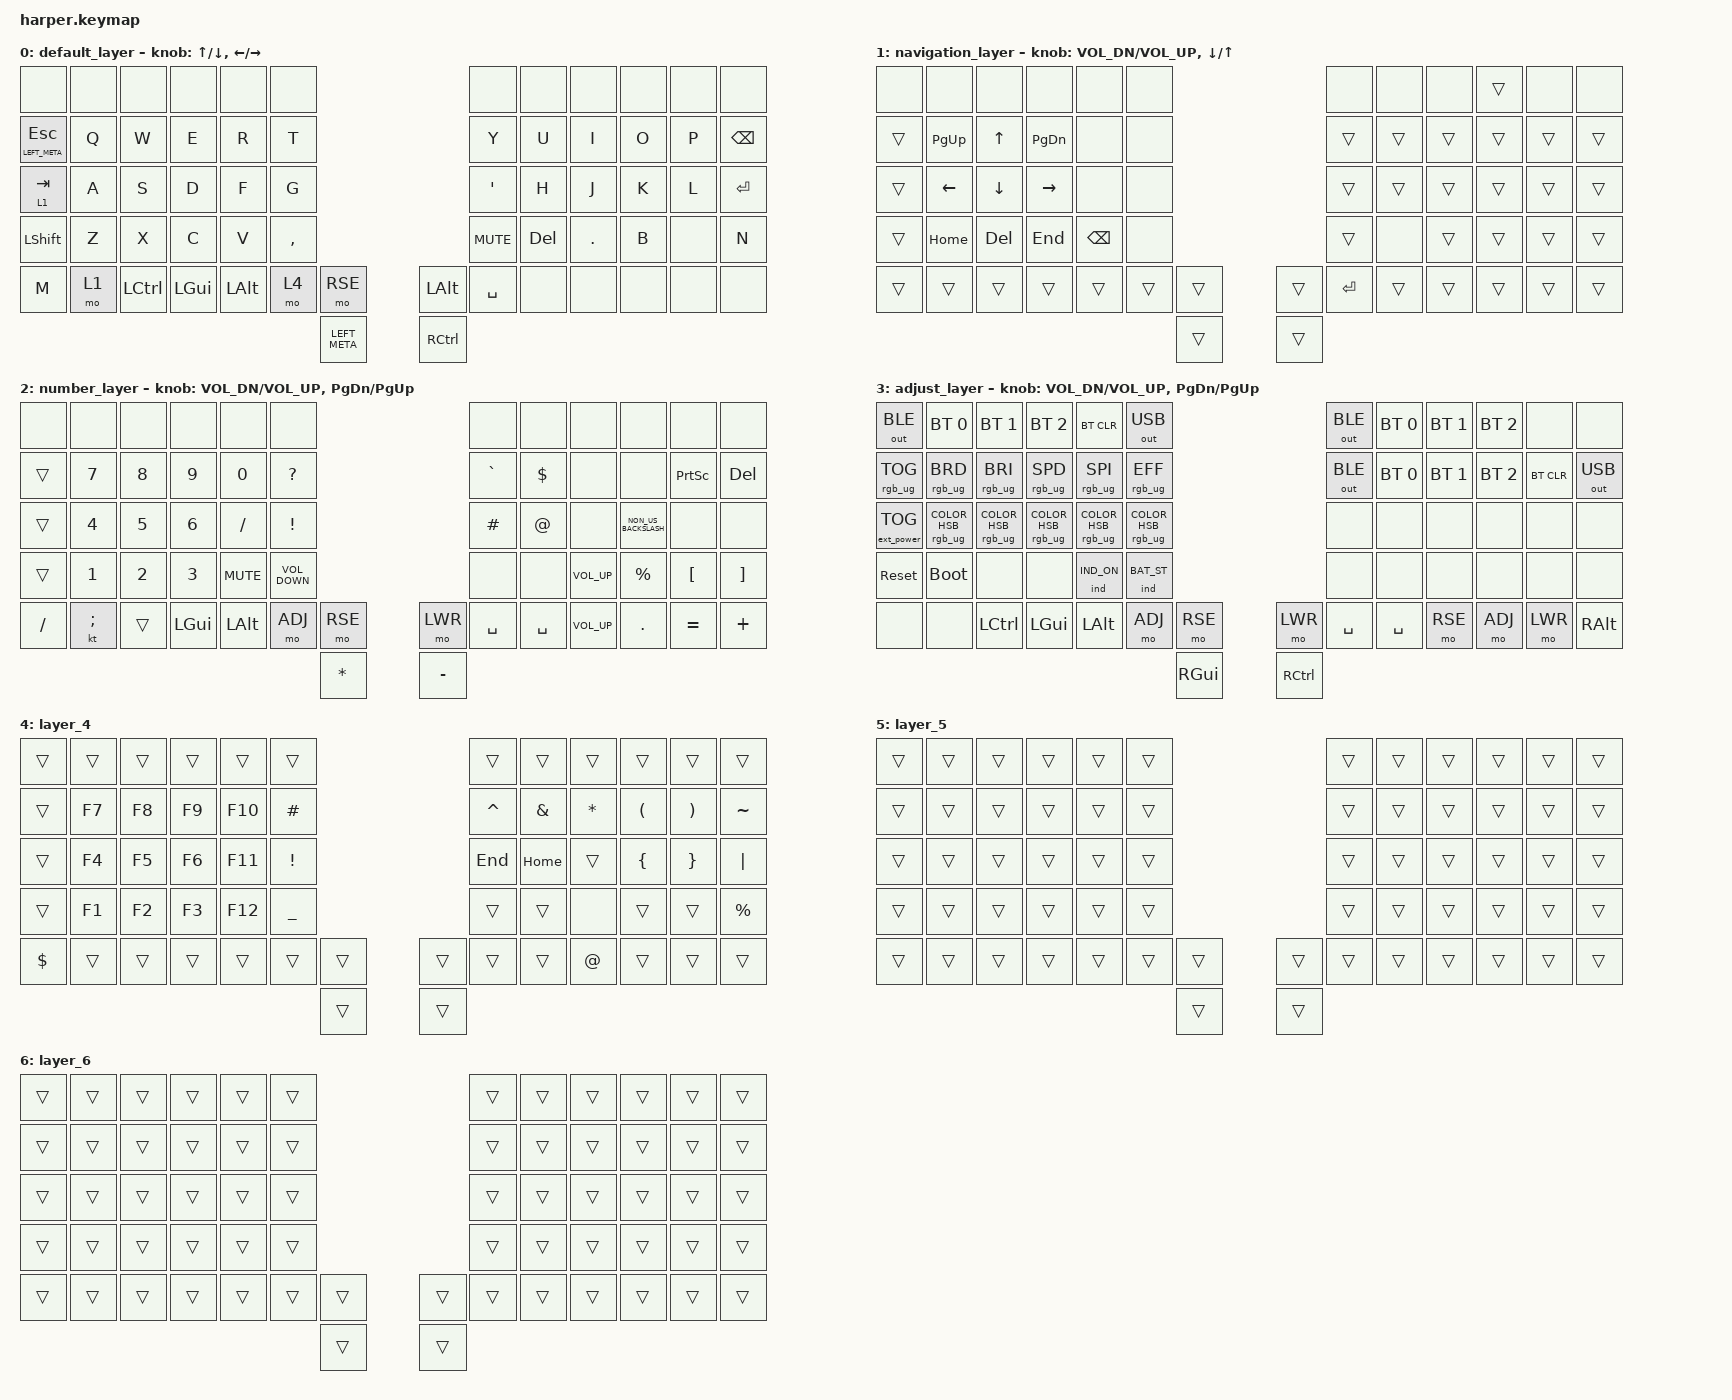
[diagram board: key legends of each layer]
#include <dt-bindings/zmk/indicators.h>
#include <behaviors.dtsi>
#include <dt-bindings/zmk/bt.h>
#include <dt-bindings/zmk/ext_power.h>
#include <dt-bindings/zmk/keys.h>
#include <dt-bindings/zmk/keys.h>
#include <dt-bindings/zmk/outputs.h>
#include <dt-bindings/zmk/rgb.h>

#define DEF 0
#define LWR 1
#define RSE 2
#define ADJ 3

&lt { quick_tap_ms = <200>; };

&mt { quick_tap_ms = <200>; };

/ {
    keymap {
        compatible = "zmk,keymap";

        default_layer {
            bindings = <
&none                 &none  &none      &none     &none     &none               &none          &none       &none       &none  &none  &none
&mt LEFT_META ESCAPE  &kp Q  &kp W      &kp E     &kp R     &kp T               &kp Y          &kp U       &kp I       &kp O  &kp P  &kp BACKSPACE
&lt 1 TAB             &kp A  &kp S      &kp D     &kp F     &kp G               &kp SQT        &kp H       &kp J       &kp K  &kp L  &kp ENTER
&kp LSHFT             &kp Z  &kp X      &kp C     &kp V     &kp COMMA           &kp C_MUTE     &kp DELETE  &kp PERIOD  &kp B  &none  &kp N
&kp M                 &mo 1  &kp LCTRL  &kp LGUI  &kp LALT  &mo 4      &mo RSE  &kp LEFT_ALT   &kp SPACE   &none       &none  &none  &none          &none
                                                                                &kp LEFT_META                                                       &kp RCTRL
            >;

            sensor-bindings =
                <&inc_dec_kp UP_ARROW DOWN>,
                <&inc_dec_kp LEFT RIGHT>;
        };

        navigation_layer {
            bindings = <
&none   &none        &none         &none          &none          &none           &none   &none      &none   &trans  &none   &none
&trans  &kp PAGE_UP  &kp UP_ARROW  &kp PAGE_DOWN  &none          &none           &trans  &trans     &trans  &trans  &trans  &trans
&trans  &kp LEFT     &kp DOWN      &kp RIGHT      &none          &none           &trans  &trans     &trans  &trans  &trans  &trans
&trans  &kp HOME     &kp DELETE    &kp END        &kp BACKSPACE  &none           &trans  &none      &trans  &trans  &trans  &trans
&trans  &trans       &trans        &trans         &trans         &trans  &trans  &trans  &kp ENTER  &trans  &trans  &trans  &trans  &trans
                                                                                 &trans                                             &trans
            >;

            sensor-bindings =
                <&inc_dec_kp C_VOL_DN C_VOL_UP>,
                <&inc_dec_kp DOWN UP_ARROW>;
        };

        number_layer {
            bindings = <
&none      &none          &none         &none         &none       &none                       &none         &none       &none         &none                 &none             &none
&trans     &kp N7         &kp N8        &kp N9        &kp N0      &kp QUESTION                &kp GRAVE     &kp DOLLAR  &none         &none                 &kp PRINTSCREEN   &kp DELETE
&trans     &kp NUMBER_4   &kp N5        &kp NUMBER_6  &kp SLASH   &kp EXCLAMATION             &kp HASH      &kp AT      &none         &kp NON_US_BACKSLASH  &none             &none
&trans     &kp NUMBER_1   &kp NUMBER_2  &kp NUMBER_3  &kp C_MUTE  &kp K_VOLUME_DOWN           &none         &none       &kp C_VOL_UP  &kp PERCENT           &kp LEFT_BRACKET  &kp RBKT
&kp SLASH  &kt SEMICOLON  &trans        &kp LGUI      &kp LALT    &mo ADJ            &mo RSE  &mo LWR       &kp SPACE   &kp SPACE     &kp C_VOLUME_UP       &kp PERIOD        &kp EQUAL   &kp PLUS
                                                                                              &kp ASTERISK                                                                                &kp MINUS
            >;

            sensor-bindings = <&inc_dec_kp C_VOL_DN C_VOL_UP &inc_dec_kp PG_DN PG_UP>;
        };

        adjust_layer {
            bindings = <
&out OUT_BLE       &bt BT_SEL 0                     &bt BT_SEL 1                       &bt BT_SEL 2                      &bt BT_CLR                       &out OUT_USB                               &out OUT_BLE  &bt BT_SEL 0  &bt BT_SEL 1  &bt BT_SEL 2  &none       &none
&rgb_ug RGB_TOG    &rgb_ug RGB_BRD                  &rgb_ug RGB_BRI                    &rgb_ug RGB_SPD                   &rgb_ug RGB_SPI                  &rgb_ug RGB_EFF                            &out OUT_BLE  &bt BT_SEL 0  &bt BT_SEL 1  &bt BT_SEL 2  &bt BT_CLR  &out OUT_USB
&ext_power EP_TOG  &rgb_ug RGB_COLOR_HSB(0,100,50)  &rgb_ug RGB_COLOR_HSB(218,100,50)  &rgb_ug RGB_COLOR_HSB(120,97,50)  &rgb_ug RGB_COLOR_HSB(60,0,100)  &rgb_ug RGB_COLOR_HSB(64,100,52)           &none         &none         &none         &none         &none       &none
&sys_reset         &bootloader                      &none                              &none                             &ind IND_ON                      &ind BAT_ST                                &none         &none         &none         &none         &none       &none
&none              &none                            &kp LCTRL                          &kp LGUI                          &kp LALT                         &mo ADJ                           &mo RSE  &mo LWR       &kp SPACE     &kp SPACE     &mo RSE       &mo ADJ     &mo LWR       &kp RALT
                                                                                                                                                                                                     &kp RGUI                                                                          &kp RCTRL
            >;

            sensor-bindings = <&inc_dec_kp C_VOL_DN C_VOL_UP &inc_dec_kp PG_DN PG_UP>;
        };

        layer_4 {
            bindings = <
&trans      &trans  &trans  &trans  &trans   &trans                   &trans     &trans         &trans        &trans                &trans                 &trans
&trans      &kp F7  &kp F8  &kp F9  &kp F10  &kp HASH                 &kp CARET  &kp AMPERSAND  &kp ASTERISK  &kp LEFT_PARENTHESIS  &kp RIGHT_PARENTHESIS  &kp TILDE
&trans      &kp F4  &kp F5  &kp F6  &kp F11  &kp EXCLAMATION          &kp END    &kp HOME       &trans        &kp LEFT_BRACE        &kp RIGHT_BRACE        &kp PIPE
&trans      &kp F1  &kp F2  &kp F3  &kp F12  &kp UNDERSCORE           &trans     &trans         &none         &trans                &trans                 &kp PERCENT
&kp DOLLAR  &trans  &trans  &trans  &trans   &trans           &trans  &trans     &trans         &trans        &kp AT                &trans                 &trans       &trans
                                                                      &trans                                                                                            &trans
            >;
        };

        layer_5 {
            bindings = <
&trans  &trans  &trans  &trans  &trans  &trans          &trans  &trans  &trans  &trans  &trans  &trans
&trans  &trans  &trans  &trans  &trans  &trans          &trans  &trans  &trans  &trans  &trans  &trans
&trans  &trans  &trans  &trans  &trans  &trans          &trans  &trans  &trans  &trans  &trans  &trans
&trans  &trans  &trans  &trans  &trans  &trans          &trans  &trans  &trans  &trans  &trans  &trans
&trans  &trans  &trans  &trans  &trans  &trans  &trans  &trans  &trans  &trans  &trans  &trans  &trans  &trans
                                                        &trans                                          &trans
            >;
        };

        layer_6 {
            bindings = <
&trans  &trans  &trans  &trans  &trans  &trans          &trans  &trans  &trans  &trans  &trans  &trans
&trans  &trans  &trans  &trans  &trans  &trans          &trans  &trans  &trans  &trans  &trans  &trans
&trans  &trans  &trans  &trans  &trans  &trans          &trans  &trans  &trans  &trans  &trans  &trans
&trans  &trans  &trans  &trans  &trans  &trans          &trans  &trans  &trans  &trans  &trans  &trans
&trans  &trans  &trans  &trans  &trans  &trans  &trans  &trans  &trans  &trans  &trans  &trans  &trans  &trans
                                                        &trans                                          &trans
            >;
        };
    };
};
